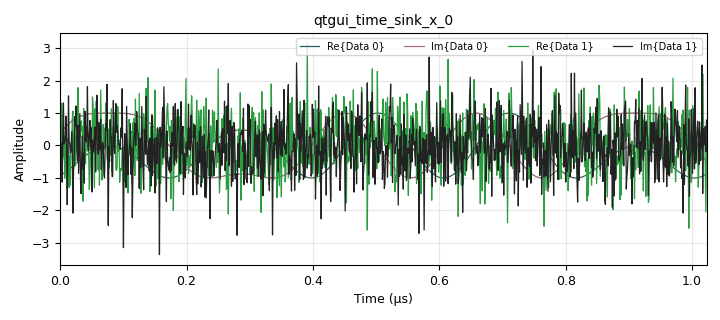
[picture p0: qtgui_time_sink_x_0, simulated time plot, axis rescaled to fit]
options:
  parameters:
    generate_options: qt_gui
    id: SingleTimeRunner
    output_language: python
    title: Not titled yet
  states: {}

blocks:
- name: Vectorsize
  id: variable
  parameters:
    value: 28*sps*15
  states: {}
- name: bit_rate
  id: variable
  parameters:
    value: '1200'
  states: {}
- name: samp_rate
  id: variable
  parameters:
    value: '1000000000'
  states: {}
- name: sps
  id: variable
  parameters:
    value: '208'
  states: {}
- name: variable_qtgui_range_0
  id: variable_qtgui_range
  parameters:
    start: '0'
    step: '1'
    stop: '15000'
    value: '50'
    widget: counter
  states: {}
- name: analog_agc_xx_0
  id: analog_agc_xx
  parameters:
    gain: '1.0'
    max_gain: '65536'
    rate: '1e-3'
    reference: '1.0'
    type: complex
  states: {}
- name: analog_noise_source_x_0
  id: analog_noise_source_x
  parameters:
    amp: '316.227766'
    noise_type: analog.GR_GAUSSIAN
    seed: '0'
    type: complex
  states: {}
- name: blocks_add_xx_0
  id: blocks_add_xx
  parameters:
    type: complex
  states: {}
- name: blocks_delay_0
  id: blocks_delay
  parameters:
    delay: '0'
    type: byte
  states: {}
- name: blocks_delay_2
  id: blocks_delay
  parameters:
    delay: variable_qtgui_range_0
    type: complex
  states: {}
- name: blocks_file_sink_0
  id: blocks_file_sink
  parameters:
    file: D:\GNURADIO_THESIS_MASTER\DemodRemodProcess\SentSignal
    type: complex
  states: {state: disabled}
- name: blocks_file_sink_0_0
  id: blocks_file_sink
  parameters:
    file: D:\GNURADIO_THESIS_MASTER\DemodRemodProcess\SentSignalSimulations
    type: complex
  states: {}
- name: blocks_file_sink_1
  id: blocks_file_sink
  parameters:
    file: D:\GNURADIO_THESIS_MASTER\DemodRemodProcess\DemoddedSignal
    type: byte
  states: {state: disabled}
- name: blocks_file_sink_1_0
  id: blocks_file_sink
  parameters:
    file: D:\GNURADIO_THESIS_MASTER\DemodRemodProcess\DemoddedSignal
    type: byte
  states: {state: disabled}
- name: blocks_file_sink_2
  id: blocks_file_sink
  parameters:
    file: D:\GNURADIO_THESIS_MASTER\DemodRemodProcess\RecievedSignal
    type: complex
  states: {state: disabled}
- name: blocks_file_sink_2_0
  id: blocks_file_sink
  parameters:
    file: D:\GNURADIO_THESIS_MASTER\DemodRemodProcess\RecievedSignalSimulation
    type: complex
  states: {}
- name: blocks_file_sink_2_0_0
  id: blocks_file_sink
  parameters:
    file: D:\GNURADIO_THESIS_MASTER\DemodRemodProcess\RecievedDemodRemodSignalSimulation
    type: complex
  states: {}
- name: blocks_head_0
  id: blocks_head
  parameters:
    num_items: Vectorsize
    type: complex
  states: {state: disabled}
- name: blocks_head_0_0
  id: blocks_head
  parameters:
    num_items: Vectorsize
    type: complex
  states: {state: disabled}
- name: blocks_head_0_0_0
  id: blocks_head
  parameters:
    num_items: int(Vectorsize/sps)
    type: byte
  states: {state: disabled}
- name: blocks_head_1
  id: blocks_head
  parameters:
    num_items: 28*sps*1000
    type: complex
  states: {}
- name: blocks_head_1_0
  id: blocks_head
  parameters:
    num_items: 28*sps*1000
    type: complex
  states: {}
- name: blocks_pack_k_bits_bb_0
  id: blocks_pack_k_bits_bb
  parameters:
    k: '8'
  states: {}
- name: blocks_throttle2_0
  id: blocks_throttle2
  parameters:
    samples_per_second: samp_rate
    type: byte
  states: {}
- name: blocks_unpack_k_bits_bb_1_1
  id: blocks_unpack_k_bits_bb
  parameters:
    k: '8'
  states: {}
- name: blocks_vector_source_x_0_0
  id: blocks_vector_source_x
  parameters:
    repeat: 'True'
    type: byte
    vector: (0x0B ,0xF1 ,0xC4 ,0x1A ,0x17 ,0x17 ,0x3E ,0x51 ,0x2C ,0x93 ,0x0F ,0xD0 ,0x2C ,0x43 ,0x84 ,0xB0 ,0xDF ,0x04 ,0x4A ,0x99 ,0x26 ,0x0B ,0xDE ,0x92 ,0xAB ,0xC7 ,0x69 ,0x15)
  states: {}
- name: digital_gfsk_mod_0
  id: digital_gfsk_mod
  parameters:
    bt: '0.5'
    samples_per_symbol: sps
    sensitivity: 2*3.14/sps
  states: {}
- name: digital_gfsk_mod_0_0
  id: digital_gfsk_mod
  parameters:
    bt: '0.5'
    samples_per_symbol: sps
    sensitivity: 2*3.14/sps
  states: {}
- name: digital_gmsk_demod_0
  id: digital_gmsk_demod
  parameters:
    freq_error: '0.0'
    gain_mu: '0.175'
    mu: '0.5'
    omega_relative_limit: '0.005'
    samples_per_symbol: sps
  states: {}
- name: qtgui_time_sink_x_0
  id: qtgui_time_sink_x
  parameters:
    nconnections: '2'
    size: '1024'
    srate: samp_rate
    type: complex
  states: {}
- name: uhd_usrp_sink_0_0
  id: uhd_usrp_sink
  parameters:
    ant0: TX/RX
    center_freq0: uhd.tune_request(145e6, 5e6)
    clock_rate: '0.0'
    dev_addr: ''
    dev_args: '"type=b200"'
    gain0: '50'
    len_tag_name: ''
    samp_rate: samp_rate
    sync: gps_time
    type: fc32
  states: {state: disabled}
- name: uhd_usrp_source_0
  id: uhd_usrp_source
  parameters:
    ant0: RX2
    center_freq0: uhd.tune_request(145e6, 5e6)
    clock_rate: '0.0'
    dev_addr: ''
    dev_args: '"type=b200"'
    gain0: '60'
    otw: sc16
    samp_rate: samp_rate
    sync: gps_time
    type: fc32
  states: {state: disabled}

connections:
- [analog_agc_xx_0, '0', blocks_head_0_0, '0']
- [analog_agc_xx_0, '0', blocks_head_1_0, '0']
- [analog_agc_xx_0, '0', digital_gmsk_demod_0, '0']
- [analog_agc_xx_0, '0', qtgui_time_sink_x_0, '1']
- [analog_noise_source_x_0, '0', blocks_add_xx_0, '1']
- [blocks_add_xx_0, '0', analog_agc_xx_0, '0']
- [blocks_delay_0, '0', blocks_pack_k_bits_bb_0, '0']
- [blocks_delay_2, '0', blocks_add_xx_0, '0']
- [blocks_delay_2, '0', uhd_usrp_sink_0_0, '0']
- [blocks_head_0, '0', blocks_file_sink_0, '0']
- [blocks_head_0_0, '0', blocks_file_sink_2, '0']
- [blocks_head_0_0_0, '0', blocks_file_sink_1, '0']
- [blocks_head_1, '0', blocks_file_sink_0_0, '0']
- [blocks_head_1_0, '0', blocks_file_sink_2_0, '0']
- [blocks_pack_k_bits_bb_0, '0', digital_gfsk_mod_0, '0']
- [blocks_throttle2_0, '0', blocks_unpack_k_bits_bb_1_1, '0']
- [blocks_unpack_k_bits_bb_1_1, '0', blocks_delay_0, '0']
- [blocks_vector_source_x_0_0, '0', blocks_throttle2_0, '0']
- [digital_gfsk_mod_0, '0', blocks_delay_2, '0']
- [digital_gfsk_mod_0, '0', blocks_head_0, '0']
- [digital_gfsk_mod_0, '0', blocks_head_1, '0']
- [digital_gfsk_mod_0, '0', qtgui_time_sink_x_0, '0']
- [digital_gfsk_mod_0_0, '0', blocks_file_sink_2_0_0, '0']
- [digital_gmsk_demod_0, '0', blocks_head_0_0_0, '0']
- [digital_gmsk_demod_0, '0', digital_gfsk_mod_0_0, '0']
- [uhd_usrp_source_0, '0', analog_agc_xx_0, '0']

metadata:
  file_format: 1
  grc_version: 3.10.6.0
